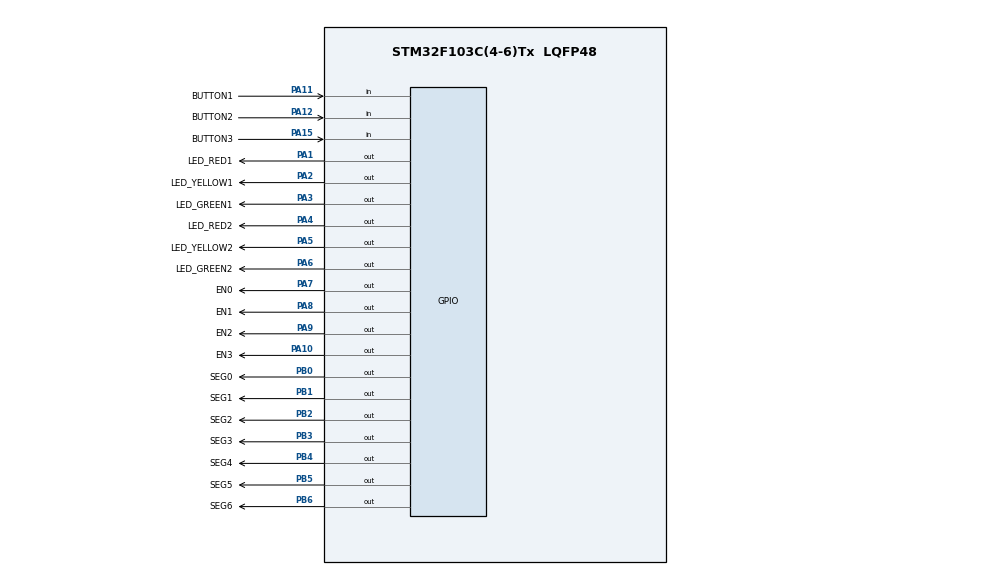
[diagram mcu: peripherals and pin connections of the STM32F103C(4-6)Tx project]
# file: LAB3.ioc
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Mcu.Family=STM32F1
Mcu.Name=STM32F103C(4-6)Tx
Mcu.Package=LQFP48
NVIC.PriorityGroup=NVIC_PRIORITYGROUP_4
NVIC.TIM2_IRQn=true\:0\:0\:false\:false\:true\:true\:true
PA0-WKUP.Mode=SYS_WakeUp0
PA0-WKUP.Signal=SYS_WKUP
PA1.GPIO_Label=LED_RED1
PA1.Signal=GPIO_Output
PA10.GPIO_Label=EN3
PA10.Signal=GPIO_Output
PA11.GPIO_Label=BUTTON1
PA11.GPIO_PuPd=GPIO_PULLUP
PA11.Signal=GPIO_Input
PA12.GPIO_Label=BUTTON2
PA12.GPIO_PuPd=GPIO_PULLUP
PA12.Signal=GPIO_Input
PA13.Mode=Serial_Wire
PA13.Signal=SYS_JTMS-SWDIO
PA14.Mode=Serial_Wire
PA14.Signal=SYS_JTCK-SWCLK
PA15.GPIO_Label=BUTTON3
PA15.GPIO_PuPd=GPIO_PULLUP
PA15.Signal=GPIO_Input
PA2.GPIO_Label=LED_YELLOW1
PA2.Signal=GPIO_Output
PA3.GPIO_Label=LED_GREEN1
PA3.Signal=GPIO_Output
PA4.GPIO_Label=LED_RED2
PA4.Signal=GPIO_Output
PA5.GPIO_Label=LED_YELLOW2
PA5.Signal=GPIO_Output
PA6.GPIO_Label=LED_GREEN2
PA6.Signal=GPIO_Output
PA7.GPIO_Label=EN0
PA7.Signal=GPIO_Output
PA8.GPIO_Label=EN1
PA8.Signal=GPIO_Output
PA9.GPIO_Label=EN2
PA9.Signal=GPIO_Output
PB0.GPIO_Label=SEG0
PB0.Signal=GPIO_Output
PB1.GPIO_Label=SEG1
PB1.Signal=GPIO_Output
PB2.GPIO_Label=SEG2
PB2.Signal=GPIO_Output
PB3.GPIO_Label=SEG3
PB3.Signal=GPIO_Output
PB4.GPIO_Label=SEG4
PB4.Signal=GPIO_Output
PB5.GPIO_Label=SEG5
PB5.Signal=GPIO_Output
PB6.GPIO_Label=SEG6
PB6.Signal=GPIO_Output
ProjectManager.HeapSize=0x200
ProjectManager.StackSize=0x400
ProjectManager.TargetToolchain=STM32CubeIDE
RCC.APB1Freq_Value=8000000
RCC.APB2Freq_Value=8000000
TIM2.Period=9
TIM2.Prescaler=7999
VP_TIM2_VS_ClockSourceINT.Mode=Internal
board=custom

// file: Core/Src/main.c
/* USER CODE BEGIN Header */
/**
  ******************************************************************************
  * @file           : main.c
  * @brief          : Main program body
  ******************************************************************************
  * @attention
  *
  * <h2><center>&copy; Copyright (c) 2023 STMicroelectronics.
  * All rights reserved.</center></h2>
  *
  * This software component is licensed by ST under BSD 3-Clause license,
  * the "License"; You may not use this file except in compliance with the
  * License. You may obtain a copy of the License at:
  *                        opensource.org/licenses/BSD-3-Clause
  *
  ******************************************************************************
  */
/* USER CODE END Header */

#include "main.h"

/* USER CODE BEGIN Includes */
#include "fsm_normal_mode.h"
#include "fsm_mode_2.h"
#include "fsm_mode_3.h"
#include "fsm_mode_4.h"
/* USER CODE END Includes */

TIM_HandleTypeDef htim2;

void SystemClock_Config(void);
static void MX_GPIO_Init(void);
static void MX_TIM2_Init(void);

int main(void)
{

  /* MCU Configuration--------------------------------------------------------*/

  /* Reset of all peripherals, Initializes the Flash interface and the Systick. */
  HAL_Init();

  /* Configure the system clock */
  SystemClock_Config();

  /* Initialize all configured peripherals */
  MX_GPIO_Init();
  MX_TIM2_Init();
  /* USER CODE BEGIN 2 */
  HAL_TIM_Base_Start_IT(&htim2);

  setTimer1(10);
  setTimer2(10);
  /* USER CODE END 2 */

  /* Infinite loop */
  while (1)
  {

    /* USER CODE BEGIN 3 */
	 if(isKey1Pressed() == 1){
		 mode += 1;
		 if(mode >= 5){
			 mode = 1;
		 }
	 }
	 switch(mode){
	  	  case 1:
	  		  fsmNormalMode();
	  		  break;
	  	  case 2:
	  		  fsmMode2();
	  		  break;
	  	  case 3:
	  		  fsmMode3();
	  		  break;
	  	  case 4:
	  		  fsmMode4();
	  		  break;
	  	  default:
	  		  break;
	  	  }
  }
  /* USER CODE END 3 */
}

void SystemClock_Config(void)
{
  RCC_OscInitTypeDef RCC_OscInitStruct = {0};
  RCC_ClkInitTypeDef RCC_ClkInitStruct = {0};

  /** Initializes the RCC Oscillators according to the specified parameters
  * in the RCC_OscInitTypeDef structure.
  */
  RCC_OscInitStruct.OscillatorType = RCC_OSCILLATORTYPE_HSI;
  RCC_OscInitStruct.HSIState = RCC_HSI_ON;
  RCC_OscInitStruct.HSICalibrationValue = RCC_HSICALIBRATION_DEFAULT;
  RCC_OscInitStruct.PLL.PLLState = RCC_PLL_NONE;
  if (HAL_RCC_OscConfig(&RCC_OscInitStruct) != HAL_OK)
  {
    Error_Handler();
  }
  /** Initializes the CPU, AHB and APB buses clocks
  */
  RCC_ClkInitStruct.ClockType = RCC_CLOCKTYPE_HCLK|RCC_CLOCKTYPE_SYSCLK
                              |RCC_CLOCKTYPE_PCLK1|RCC_CLOCKTYPE_PCLK2;
  RCC_ClkInitStruct.SYSCLKSource = RCC_SYSCLKSOURCE_HSI;
  RCC_ClkInitStruct.AHBCLKDivider = RCC_SYSCLK_DIV1;
  RCC_ClkInitStruct.APB1CLKDivider = RCC_HCLK_DIV1;
  RCC_ClkInitStruct.APB2CLKDivider = RCC_HCLK_DIV1;

  if (HAL_RCC_ClockConfig(&RCC_ClkInitStruct, FLASH_LATENCY_0) != HAL_OK)
  {
    Error_Handler();
  }
}

static void MX_TIM2_Init(void)
{

  TIM_ClockConfigTypeDef sClockSourceConfig = {0};
  TIM_MasterConfigTypeDef sMasterConfig = {0};

  htim2.Instance = TIM2;
  htim2.Init.Prescaler = 7999;
  htim2.Init.CounterMode = TIM_COUNTERMODE_UP;
  htim2.Init.Period = 9;
  htim2.Init.ClockDivision = TIM_CLOCKDIVISION_DIV1;
  htim2.Init.AutoReloadPreload = TIM_AUTORELOAD_PRELOAD_DISABLE;
  if (HAL_TIM_Base_Init(&htim2) != HAL_OK)
  {
    Error_Handler();
  }
  sClockSourceConfig.ClockSource = TIM_CLOCKSOURCE_INTERNAL;
  if (HAL_TIM_ConfigClockSource(&htim2, &sClockSourceConfig) != HAL_OK)
  {
    Error_Handler();
  }
  sMasterConfig.MasterOutputTrigger = TIM_TRGO_RESET;
  sMasterConfig.MasterSlaveMode = TIM_MASTERSLAVEMODE_DISABLE;
  if (HAL_TIMEx_MasterConfigSynchronization(&htim2, &sMasterConfig) != HAL_OK)
  {
    Error_Handler();
  }

}

static void MX_GPIO_Init(void)
{
  GPIO_InitTypeDef GPIO_InitStruct = {0};

  /* GPIO Ports Clock Enable */
  __HAL_RCC_GPIOA_CLK_ENABLE();
  __HAL_RCC_GPIOB_CLK_ENABLE();

  /*Configure GPIO pin Output Level */
  HAL_GPIO_WritePin(GPIOA, LED_RED1_Pin|LED_YELLOW1_Pin|LED_GREEN1_Pin|LED_RED2_Pin
                          |LED_YELLOW2_Pin|LED_GREEN2_Pin|EN0_Pin|EN1_Pin
                          |EN2_Pin|EN3_Pin, GPIO_PIN_RESET);

  /*Configure GPIO pin Output Level */
  HAL_GPIO_WritePin(GPIOB, SEG0_Pin|SEG1_Pin|SEG2_Pin|SEG3_Pin
                          |SEG4_Pin|SEG5_Pin|SEG6_Pin, GPIO_PIN_RESET);

  /*Configure GPIO pins : LED_RED1_Pin LED_YELLOW1_Pin LED_GREEN1_Pin LED_RED2_Pin
                           LED_YELLOW2_Pin LED_GREEN2_Pin EN0_Pin EN1_Pin
                           EN2_Pin EN3_Pin */
  GPIO_InitStruct.Pin = LED_RED1_Pin|LED_YELLOW1_Pin|LED_GREEN1_Pin|LED_RED2_Pin
                          |LED_YELLOW2_Pin|LED_GREEN2_Pin|EN0_Pin|EN1_Pin
                          |EN2_Pin|EN3_Pin;
  GPIO_InitStruct.Mode = GPIO_MODE_OUTPUT_PP;
  GPIO_InitStruct.Pull = GPIO_NOPULL;
  GPIO_InitStruct.Speed = GPIO_SPEED_FREQ_LOW;
  HAL_GPIO_Init(GPIOA, &GPIO_InitStruct);

  /*Configure GPIO pins : SEG0_Pin SEG1_Pin SEG2_Pin SEG3_Pin
                           SEG4_Pin SEG5_Pin SEG6_Pin */
  GPIO_InitStruct.Pin = SEG0_Pin|SEG1_Pin|SEG2_Pin|SEG3_Pin
                          |SEG4_Pin|SEG5_Pin|SEG6_Pin;
  GPIO_InitStruct.Mode = GPIO_MODE_OUTPUT_PP;
  GPIO_InitStruct.Pull = GPIO_NOPULL;
  GPIO_InitStruct.Speed = GPIO_SPEED_FREQ_LOW;
  HAL_GPIO_Init(GPIOB, &GPIO_InitStruct);

  /*Configure GPIO pins : BUTTON1_Pin BUTTON2_Pin BUTTON3_Pin */
  GPIO_InitStruct.Pin = BUTTON1_Pin|BUTTON2_Pin|BUTTON3_Pin;
  GPIO_InitStruct.Mode = GPIO_MODE_INPUT;
  GPIO_InitStruct.Pull = GPIO_PULLUP;
  HAL_GPIO_Init(GPIOA, &GPIO_InitStruct);

}

/* USER CODE BEGIN 4 */
void HAL_TIM_PeriodElapsedCallback(TIM_HandleTypeDef *htim){
	timerRun();
	getKeyInput();
}
/* USER CODE END 4 */

void Error_Handler(void)
{
  __disable_irq();
  while (1)
  {
  }
}

/************************ (C) COPYRIGHT STMicroelectronics *****END OF FILE****/
